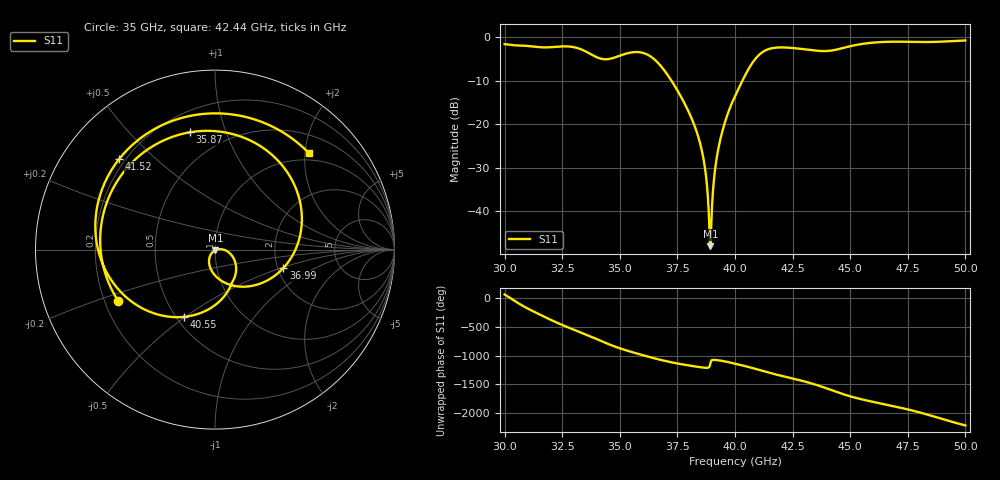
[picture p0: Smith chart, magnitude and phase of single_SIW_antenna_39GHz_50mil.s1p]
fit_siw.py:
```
# -*- coding: utf-8 -*-
"""
Created on Mon Sep 25 20:57:57 2017

@author: kirknie
"""

import numpy as np
import matplotlib.pyplot as plt
import snp_fct
import sys
sys.path.append('../')
import vector_fitting
import fit_z
import fit_s
import bound_fct

## import from a specific directory
#import importlib.util
#spec = importlib.util.spec_from_file_location("vectorFitting", "C:\\Users\\kirknie\\Documents\\Python\\Vector_fitting\\vectorFitting.py")
#vectorFitting = importlib.util.module_from_spec(spec)
#spec.loader.exec_module(vectorFitting)


if __name__ == '__main__':
    #s1p_file = 'SIW_ant_39GHz_from_20GHz_to_50GHz.s1p'
    s1p_file = 'single_SIW_antenna_39GHz_50mil.s1p'
    freq, n, z_data, s_data, z0_data = snp_fct.read_snp(s1p_file)
    
#    freq = freq[500:]
#    s_data = s_data[500:]
#    z0_data = z0_data[500:]
#    z_data = z_data[500:]
    z0 = 50
    z0 = 190
    s_data = (z_data-z0) / (z_data+z0)
    cs = freq*2j*np.pi
    
    #poles, residues, d, h = vector_fitting.vector_fitting_rescale(z_data, cs, n_poles=20, n_iters=20, has_d=1, has_h=0, fixed_poles=[0])
    poles, residues, d, h = fit_z.fit_z(z_data, cs, n_poles=18, n_iters=20, has_d=1, has_h=1)
    f_fit = vector_fitting.model(cs, poles, residues, d, h)
    
    print(poles)
    
    plt.figure()
    plt.plot(np.abs(cs)/2/np.pi, 20*np.log10(np.abs(z_data)), 'b-')
    plt.plot(np.abs(cs)/2/np.pi, 20*np.log10(np.abs(f_fit)), 'r--')
    plt.plot(np.abs(cs)/2/np.pi, 20*np.log10(np.abs(f_fit-z_data)), 'k--')
    plt.xlabel('Frequency (Hz)')
    plt.ylabel('Amplitude (dB)')
    
    # plot the fitted data in a broader bandwidth
    s_all = np.logspace(10, 12, 1e5)*1j
    f_fit_all = vector_fitting.model(s_all, poles, residues, d, h)
    
    #z = vector_fitting.calculate_zeros(poles, residues, d)
    #print('Zeros are:', z)
    #check_zeros = vector_fitting.model(z, poles, residues, d, h)
    
    # For S, zeros are z = z0, poles are z = -z0
    s_zeros = vector_fitting.calculate_zeros(poles, residues, d-z0)
    s_poles = vector_fitting.calculate_zeros(poles, residues, d+z0)
    
    bound = -np.pi/2*(sum(s_poles)+sum(s_zeros))
    print('Bound is {:.5e}'.format(bound.real))
    print('BW is {:.5e}'.format(bound.real/2/np.pi/np.log(1/0.2)))
    bound = -np.pi/2*(sum(1/s_poles)+sum(1/s_zeros))
    print('Bound is {:.5e}'.format(bound.real))
    print('BW is {:.5e}'.format(bound.real/2/np.pi/np.log(1/0.2)*(2*np.pi*39e9)**2))
    
    plt.figure()
    plt.semilogx(np.abs(s_all), 20*np.log10(np.abs(f_fit_all)), 'b-')
    plt.semilogx(np.abs(s_all), 20*np.log10(np.abs(f_fit_all.real)), 'r--')
    plt.xlabel('Frequency (Hz)')
    plt.ylabel('Amplitude (dB)')
    
#    s_fit_all = (f_fit_all-50) / (f_fit_all+50)
#    plt.figure()
#    plt.semilogx(np.abs(s_all), 20*np.log10(np.abs(s_fit_all)), 'b-')
#    plt.xlabel('Frequency (Hz)')
#    plt.ylabel('Amplitude (dB)')
    
    
    # Try to fit S
    poles, residues, d, h = fit_s.fit_s(s_data, cs, n_poles=18, n_iters=20, s_dc=0, s_inf=1, pole_wt=0, bound_wt=1.2e-12)
    fs_fit = vector_fitting.model(cs, poles, residues, d, h)
    s_zeros = vector_fitting.calculate_zeros(poles, residues, d)
    fs_fit_all = vector_fitting.model(s_all, poles, residues, d, h)
    
    bound, bw = bound_fct.bound_s(poles, residues, d, 0, f0=39e9)
    print('Bound is {:.5e}'.format(bound))
    print('BW is {:.5e}'.format(bw))
    
    bound, bw = bound_fct.bound_s(poles, residues, d, np.inf)
    print('Bound is {:.5e}'.format(bound))
    print('BW is {:.5e}'.format(bw))
    
    bound_error = bound_fct.bound_error_s(s_data, cs, poles, residues, d, np.inf)
    print('Bound error is {:.5e}'.format(bound_error))
    
    ant_integral = bound_fct.bound_integral(cs.imag, np.abs(s_data), np.inf)
    print('The inegral of the antenna is {:.5e}'.format(ant_integral))
    
    bound_fct.plot_improved_bound(poles, residues, d, 1.2e10, 4e11)
    
    plt.figure()
    plt.plot(np.abs(cs)/2/np.pi, 20*np.log10(np.abs(s_data)), 'b-')
    plt.plot(np.abs(cs)/2/np.pi, 20*np.log10(np.abs(fs_fit)), 'r--')
    plt.plot(np.abs(cs)/2/np.pi, 20*np.log10(np.abs(fs_fit-s_data)), 'k--')
    plt.xlabel('Frequency (Hz)')
    plt.ylabel('Amplitude (dB)')
    
    plt.figure()
    plt.plot(np.abs(s_all)/2/np.pi, 20*np.log10(np.abs(fs_fit_all)), 'b-')
    plt.xlabel('Frequency (Hz)')
    plt.ylabel('Amplitude (dB)')
    
    plt.show()
    
    print('check s', max(np.abs(fs_fit_all)))
```
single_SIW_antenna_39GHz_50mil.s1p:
! Touchstone file from project single_SIW_antenna_39GHz_50mil
! Exported from HFSS 2017.0.0
! Variables:
!  $D1 = 1.82692307692308mm
!  $Disk_shift = 0mm
!  $G1 = 0.243589743589744mm
!  $G2 = 0.608974358974359mm
!  $S0 = 50mil
!  $S1 = 0.243589743589744mm
!  $S2 = 4.87179487179487mm
!  $SL = 1.46153846153846mm
!  $SW = 0.584615384615385mm
!  $VL = 1.82692307692308mm
!  $VW = 0.618717948717949mm
!  $W = 3.02051282051282mm
!  $W1 = 3.02051282051282mm
!  $extension_from_slot = 4.87179487179487mm
!  $length = 21.9121153846154mm
!  $offset = 0.5mm
!  $patch_step = 3.34935897435897mm
!  $slot_center_to_short = 5.02403846153846mm
!  $slot_side = 0.730769230769231mm
!  $slot_step = 3.34935897435897mm
!  $substrate_edge = 2.23290598290598mm
!  $width = 6.04102564102564mm
!  brick_dist = 0.608974358974359mm
!Data is not renormalized
# GHZ S MA
! Modal data exported
! Port[1] = 1:1
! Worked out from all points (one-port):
!   2001 points, 30 GHz to 50 GHz, reference per port
!   lowest |S11| = -48.0 dB at 38.93 GHz (marker M1), VSWR 1.01
!   |S11| at or under -10 dB: 37.24 GHz to 40.32 GHz (3.084 GHz wide, 7.95 % of centre)
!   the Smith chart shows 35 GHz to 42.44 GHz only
!   S11 on the Smith chart (normalised r, x): 35 GHz: 0.26, -0.23; 35.87 GHz: 0.32, +0.76; 36.99 GHz: 2.14, -0.52; 40.55 GHz: 0.55, -0.49; 41.52 GHz: 0.18, +0.39; 42.44 GHz: 0.85, +2.09
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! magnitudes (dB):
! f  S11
! 30 GHz  -1.6
! 35 GHz  -4.3
! 35.87 GHz  -3.5
! 36.67 GHz  -6.0
! 36.99 GHz  -8.1
! 38.4 GHz  -22.8
! 38.68 GHz  -29.5
! 38.93 GHz  -48.0
! 39.41 GHz  -22.5
! 40.55 GHz  -7.7
! 41.52 GHz  -2.7
! 42.44 GHz  -2.5
! 43.34 GHz  -3.0
! 50 GHz  -0.8
